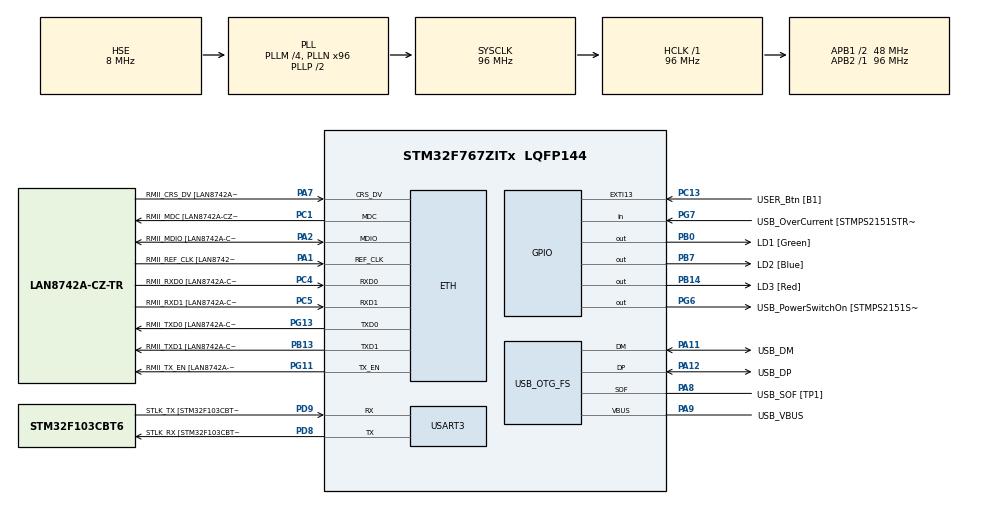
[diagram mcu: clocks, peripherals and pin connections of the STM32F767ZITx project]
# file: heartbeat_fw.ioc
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CORTEX_M7.default_mode_Activation=1
ETH.MediaInterface=HAL_ETH_RMII_MODE
ETH.PHY_Name=LAN8742A_PHY_ADDRESS
ETH.PHY_Value=0
ETH.PhyAddress=0
Mcu.Family=STM32F7
Mcu.Name=STM32F767ZITx
Mcu.Package=LQFP144
NVIC.PriorityGroup=NVIC_PRIORITYGROUP_4
NVIC.TIM2_IRQn=true\:0\:0\:false\:false\:true\:true\:true\:true
PA1.GPIO_Label=RMII_REF_CLK [LAN8742A-CZ-TR_REFCLK0]
PA1.Mode=RMII
PA1.Signal=ETH_REF_CLK
PA10.GPIO_Label=USB_ID
PA10.Signal=USB_OTG_FS_ID
PA11.GPIO_Label=USB_DM
PA11.Mode=Device_Only
PA11.Signal=USB_OTG_FS_DM
PA12.GPIO_Label=USB_DP
PA12.Mode=Device_Only
PA12.Signal=USB_OTG_FS_DP
PA13.GPIO_Label=TMS
PA13.Mode=Serial_Wire
PA13.Signal=SYS_JTMS-SWDIO
PA14.GPIO_Label=TCK
PA14.Mode=Serial_Wire
PA14.Signal=SYS_JTCK-SWCLK
PA2.GPIO_Label=RMII_MDIO [LAN8742A-CZ-TR_MDIO]
PA2.Mode=RMII
PA2.Signal=ETH_MDIO
PA7.GPIO_Label=RMII_CRS_DV [LAN8742A-CZ-TR_CRS_DV]
PA7.Mode=RMII
PA7.Signal=ETH_CRS_DV
PA8.GPIO_Label=USB_SOF [TP1]
PA8.Mode=Activate_SOF_FS
PA8.Signal=USB_OTG_FS_SOF
PA9.GPIO_Label=USB_VBUS
PA9.Mode=Activate_VBUS
PA9.Signal=USB_OTG_FS_VBUS
PB0.GPIO_Label=LD1 [Green]
PB0.Signal=GPIO_Output
PB13.GPIO_Label=RMII_TXD1 [LAN8742A-CZ-TR_TXD1]
PB13.Mode=RMII
PB13.Signal=ETH_TXD1
PB14.GPIO_Label=LD3 [Red]
PB14.Signal=GPIO_Output
PB3.GPIO_Label=SWO
PB3.Signal=SYS_JTDO-SWO
PB7.GPIO_Label=LD2 [Blue]
PB7.Signal=GPIO_Output
PC1.GPIO_Label=RMII_MDC [LAN8742A-CZ-TR_MDC]
PC1.Mode=RMII
PC1.Signal=ETH_MDC
PC13.GPIO_Label=USER_Btn [B1]
PC13.Signal=GPXTI13
PC14/OSC32_IN.Mode=LSE-External-Oscillator
PC14/OSC32_IN.Signal=RCC_OSC32_IN
PC15/OSC32_OUT.Mode=LSE-External-Oscillator
PC15/OSC32_OUT.Signal=RCC_OSC32_OUT
PC4.GPIO_Label=RMII_RXD0 [LAN8742A-CZ-TR_RXD0]
PC4.Mode=RMII
PC4.Signal=ETH_RXD0
PC5.GPIO_Label=RMII_RXD1 [LAN8742A-CZ-TR_RXD1]
PC5.Mode=RMII
PC5.Signal=ETH_RXD1
PD8.GPIO_Label=STLK_RX [STM32F103CBT6_PA3]
PD8.Mode=Asynchronous
PD8.Signal=USART3_TX
PD9.GPIO_Label=STLK_TX [STM32F103CBT6_PA2]
PD9.Mode=Asynchronous
PD9.Signal=USART3_RX
PG11.GPIO_Label=RMII_TX_EN [LAN8742A-CZ-TR_TXEN]
PG11.Mode=RMII
PG11.Signal=ETH_TX_EN
PG13.GPIO_Label=RMII_TXD0 [LAN8742A-CZ-TR_TXD0]
PG13.Mode=RMII
PG13.Signal=ETH_TXD0
PG6.GPIO_Label=USB_PowerSwitchOn [STMPS2151STR_EN]
PG6.Signal=GPIO_Output
PG7.GPIO_Label=USB_OverCurrent [STMPS2151STR_FAULT]
PG7.Signal=GPIO_Input
PH0/OSC_IN.GPIO_Label=MCO [STM32F103CBT6_PA8]
PH0/OSC_IN.Mode=HSE-External-Clock-Source
PH0/OSC_IN.Signal=RCC_OSC_IN
PH1/OSC_OUT.Mode=HSE-External-Clock-Source
PH1/OSC_OUT.Signal=RCC_OSC_OUT
ProjectManager.HeapSize=0x200
ProjectManager.StackSize=0x400
ProjectManager.TargetToolchain=STM32CubeIDE
RCC.48MHZClocksFreq_Value=24000000
RCC.AHBFreq_Value=96000000
RCC.APB1CLKDivider=RCC_HCLK_DIV2
RCC.APB1Freq_Value=48000000
RCC.APB1TimFreq_Value=96000000
RCC.APB2Freq_Value=96000000
RCC.APB2TimFreq_Value=96000000
RCC.CortexFreq_Value=96000000
RCC.HCLKFreq_Value=96000000
RCC.HSE_VALUE=8000000
RCC.HSI_VALUE=16000000
RCC.PLLM=4
RCC.PLLMUL=RCC_PLL_MUL9
RCC.PLLN=96
RCC.PLLQ=4
RCC.PRESCALERUSB=RCC_USBCLKSOURCE_PLL_DIV1_5
RCC.SYSCLKFreq_VALUE=96000000
RCC.SYSCLKSource=RCC_SYSCLKSOURCE_PLLCLK
RCC.SYSCLKSourceVirtual=RCC_SYSCLKSOURCE_PLLCLK
RCC.USBFreq_Value=48000000
RCC.VCOOutputFreq_Value=192000000
TIM2.AutoReloadPreload=TIM_AUTORELOAD_PRELOAD_ENABLE
TIM2.Period=39
TIM2.Prescaler=9599
USART3.VirtualMode-Asynchronous=VM_ASYNC
USB_OTG_FS.VirtualMode=Device_Only
VP_TIM2_VS_ClockSourceINT.Mode=Internal
board=NUCLEO-F767ZI

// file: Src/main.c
/* USER CODE BEGIN Header */
/**
  ******************************************************************************
  * @file           : main.c
  * @brief          : Main program body
  ******************************************************************************
  * @attention
  *
  * Copyright (c) 2026 STMicroelectronics.
  * All rights reserved.
  *
  * This software is licensed under terms that can be found in the LICENSE file
  * in the root directory of this software component.
  * If no LICENSE file comes with this software, it is provided AS-IS.
  *
  ******************************************************************************
  */
/* USER CODE END Header */
#include "main.h"
#include "string.h"

/* USER CODE BEGIN PD */
#define ECG_TABLE_SIZE  200   /* one beat at 75 BPM @ 250 Hz */
/* USER CODE END PD */

#if defined ( __ICCARM__ ) /*!< IAR Compiler */
#pragma location=0x2007c000
ETH_DMADescTypeDef  DMARxDscrTab[ETH_RX_DESC_CNT]; /* Ethernet Rx DMA Descriptors */
#pragma location=0x2007c0a0
ETH_DMADescTypeDef  DMATxDscrTab[ETH_TX_DESC_CNT]; /* Ethernet Tx DMA Descriptors */

#elif defined ( __CC_ARM )  /* MDK ARM Compiler */

__attribute__((at(0x2007c000))) ETH_DMADescTypeDef  DMARxDscrTab[ETH_RX_DESC_CNT]; /* Ethernet Rx DMA Descriptors */
__attribute__((at(0x2007c0a0))) ETH_DMADescTypeDef  DMATxDscrTab[ETH_TX_DESC_CNT]; /* Ethernet Tx DMA Descriptors */

#elif defined ( __GNUC__ ) /* GNU Compiler */

ETH_DMADescTypeDef DMARxDscrTab[ETH_RX_DESC_CNT] __attribute__((section(".RxDecripSection"))); /* Ethernet Rx DMA Descriptors */
ETH_DMADescTypeDef DMATxDscrTab[ETH_TX_DESC_CNT] __attribute__((section(".TxDecripSection")));   /* Ethernet Tx DMA Descriptors */
#endif

ETH_TxPacketConfig TxConfig;

ETH_HandleTypeDef heth;

TIM_HandleTypeDef htim2;

UART_HandleTypeDef huart3;

PCD_HandleTypeDef hpcd_USB_OTG_FS;

/* USER CODE BEGIN PV */

/*
 * Synthetic ECG lookup table — 200 samples = 1 beat at 75 BPM (250 Hz).
 *
 * Morphology (zero-centred, int16 ADC scale):
 *   samples   0-19  : TP baseline
 *   samples  20-40  : P wave  (peak ~150)
 *   samples  41-54  : PQ segment
 *   samples  55-57  : Q dip
 *   samples  58-62  : R ascent (peak 2000)
 *   samples  63-67  : R descent / S wave (trough -500)
 *   samples  68-72  : S recovery
 *   samples  73-99  : ST segment (slightly elevated, decays to 0)
 *   samples 100-159 : T wave  (peak ~400)
 *   samples 160-199 : TP baseline
 */
static const int16_t ECG_TABLE[ECG_TABLE_SIZE] = {
    /* 0-19: baseline */
    0, 0, 0, 0, 0, 0, 0, 0, 0, 0,
    0, 0, 0, 0, 0, 0, 0, 0, 0, 0,
    /* 20-40: P wave */
    20, 30, 42, 56, 73, 91, 109, 125, 138, 147,
    150, 147, 138, 125, 109, 91, 73, 56, 42, 30, 20,
    /* 41-54: PQ segment */
    0, 0, 0, 0, 0, 0, 0, 0, 0, 0, 0, 0, 0, 0,
    /* 55-57: Q dip */
    -80, -160, -200,
    /* 58-62: R ascent */
    -100, 300, 900, 1600, 2000,
    /* 63-67: R descent / S */
    1400, 600, -100, -450, -500,
    /* 68-72: S recovery */
    -350, -200, -100, 0, 30,
    /* 73-99: ST segment (27 values, 50→2) */
    50, 48, 46, 44, 42, 40, 38, 36, 34, 32,
    30, 28, 26, 24, 22, 20, 18, 16, 14, 12,
    10, 9, 8, 6, 5, 3, 2,
    /* 100-159: T wave (60 values, Gaussian peak 400 at index 127) */
    79,  89, 100, 111, 123, 137, 150, 164, 179, 195,
    210, 227, 243, 259, 275, 290, 306, 320, 334, 347,
    359, 369, 378, 386, 392, 396, 399, 400, 399, 396,
    392, 386, 378, 369, 359, 347, 334, 320, 306, 290,
    275, 259, 243, 227, 210, 195, 179, 164, 150, 137,
    123, 111, 100,  89,  79,  70,  62,  54,  47,  41,
    /* 160-199: TP baseline */
    0, 0, 0, 0, 0, 0, 0, 0, 0, 0,
    0, 0, 0, 0, 0, 0, 0, 0, 0, 0,
    0, 0, 0, 0, 0, 0, 0, 0, 0, 0,
    0, 0, 0, 0, 0, 0, 0, 0, 0, 0
};

static uint32_t ecg_idx = 0;   /* current position in the table */

/* USER CODE END PV */

void SystemClock_Config(void);
static void MPU_Config(void);
static void MX_GPIO_Init(void);
static void MX_ETH_Init(void);
static void MX_TIM2_Init(void);
static void MX_USART3_UART_Init(void);
static void MX_USB_OTG_FS_PCD_Init(void);

/* USER CODE BEGIN 0 */

/*
 * CRC-16 CCITT (init=0xFFFF, poly=0x1021) — matches PacketParser.cs exactly.
 * Covers the 4-byte payload: seq_lo, seq_hi, val_lo, val_hi.
 */
static uint16_t crc16_ccitt(const uint8_t *data, uint16_t len)
{
    uint16_t crc = 0xFFFF;
    for (uint16_t i = 0; i < len; i++) {
        crc ^= (uint16_t)data[i] << 8;
        for (int bit = 0; bit < 8; bit++) {
            crc = (crc & 0x8000u) ? (uint16_t)((crc << 1) ^ 0x1021u)
                                  : (uint16_t)(crc << 1);
        }
    }
    return crc;
}

/* USER CODE END 0 */

int main(void)
{

  /* MPU Configuration--------------------------------------------------------*/
  MPU_Config();

  /* MCU Configuration--------------------------------------------------------*/

  /* Reset of all peripherals, Initializes the Flash interface and the Systick. */
  HAL_Init();

  /* Configure the system clock */
  SystemClock_Config();

  /* Initialize all configured peripherals */
  MX_GPIO_Init();
  MX_ETH_Init();
  MX_TIM2_Init();
  MX_USART3_UART_Init();
  MX_USB_OTG_FS_PCD_Init();
  /* USER CODE BEGIN 2 */
  HAL_TIM_Base_Start_IT(&htim2);   /* start 250 Hz timer with interrupts */
  /* USER CODE END 2 */

  /* Infinite loop */
  while (1)
  {

  }
}

void SystemClock_Config(void)
{
  RCC_OscInitTypeDef RCC_OscInitStruct = {0};
  RCC_ClkInitTypeDef RCC_ClkInitStruct = {0};

  /** Configure LSE Drive Capability
  */
  HAL_PWR_EnableBkUpAccess();

  /** Configure the main internal regulator output voltage
  */
  __HAL_RCC_PWR_CLK_ENABLE();
  __HAL_PWR_VOLTAGESCALING_CONFIG(PWR_REGULATOR_VOLTAGE_SCALE3);

  /** Initializes the RCC Oscillators according to the specified parameters
  * in the RCC_OscInitTypeDef structure.
  */
  RCC_OscInitStruct.OscillatorType = RCC_OSCILLATORTYPE_HSE;
  RCC_OscInitStruct.HSEState = RCC_HSE_BYPASS;
  RCC_OscInitStruct.PLL.PLLState = RCC_PLL_ON;
  RCC_OscInitStruct.PLL.PLLSource = RCC_PLLSOURCE_HSE;
  RCC_OscInitStruct.PLL.PLLM = 4;
  RCC_OscInitStruct.PLL.PLLN = 96;
  RCC_OscInitStruct.PLL.PLLP = RCC_PLLP_DIV2;
  RCC_OscInitStruct.PLL.PLLQ = 4;
  RCC_OscInitStruct.PLL.PLLR = 2;
  if (HAL_RCC_OscConfig(&RCC_OscInitStruct) != HAL_OK)
  {
    Error_Handler();
  }

  /** Activate the Over-Drive mode
  */
  if (HAL_PWREx_EnableOverDrive() != HAL_OK)
  {
    Error_Handler();
  }

  /** Initializes the CPU, AHB and APB buses clocks
  */
  RCC_ClkInitStruct.ClockType = RCC_CLOCKTYPE_HCLK|RCC_CLOCKTYPE_SYSCLK
                              |RCC_CLOCKTYPE_PCLK1|RCC_CLOCKTYPE_PCLK2;
  RCC_ClkInitStruct.SYSCLKSource = RCC_SYSCLKSOURCE_PLLCLK;
  RCC_ClkInitStruct.AHBCLKDivider = RCC_SYSCLK_DIV1;
  RCC_ClkInitStruct.APB1CLKDivider = RCC_HCLK_DIV2;
  RCC_ClkInitStruct.APB2CLKDivider = RCC_HCLK_DIV1;

  if (HAL_RCC_ClockConfig(&RCC_ClkInitStruct, FLASH_LATENCY_3) != HAL_OK)
  {
    Error_Handler();
  }
}

static void MX_ETH_Init(void)
{

   static uint8_t MACAddr[6];

  heth.Instance = ETH;
  MACAddr[0] = 0x00;
  MACAddr[1] = 0x80;
  MACAddr[2] = 0xE1;
  MACAddr[3] = 0x00;
  MACAddr[4] = 0x00;
  MACAddr[5] = 0x00;
  heth.Init.MACAddr = &MACAddr[0];
  heth.Init.MediaInterface = HAL_ETH_RMII_MODE;
  heth.Init.TxDesc = DMATxDscrTab;
  heth.Init.RxDesc = DMARxDscrTab;
  heth.Init.RxBuffLen = 1524;

  if (HAL_ETH_Init(&heth) != HAL_OK)
  {
    Error_Handler();
  }

  memset(&TxConfig, 0 , sizeof(ETH_TxPacketConfig));
  TxConfig.Attributes = ETH_TX_PACKETS_FEATURES_CSUM | ETH_TX_PACKETS_FEATURES_CRCPAD;
  TxConfig.ChecksumCtrl = ETH_CHECKSUM_IPHDR_PAYLOAD_INSERT_PHDR_CALC;
  TxConfig.CRCPadCtrl = ETH_CRC_PAD_INSERT;

}

static void MX_TIM2_Init(void)
{

  TIM_ClockConfigTypeDef sClockSourceConfig = {0};
  TIM_MasterConfigTypeDef sMasterConfig = {0};

  htim2.Instance = TIM2;
  htim2.Init.Prescaler = 9599;
  htim2.Init.CounterMode = TIM_COUNTERMODE_UP;
  htim2.Init.Period = 39;
  htim2.Init.ClockDivision = TIM_CLOCKDIVISION_DIV1;
  htim2.Init.AutoReloadPreload = TIM_AUTORELOAD_PRELOAD_ENABLE;
  if (HAL_TIM_Base_Init(&htim2) != HAL_OK)
  {
    Error_Handler();
  }
  sClockSourceConfig.ClockSource = TIM_CLOCKSOURCE_INTERNAL;
  if (HAL_TIM_ConfigClockSource(&htim2, &sClockSourceConfig) != HAL_OK)
  {
    Error_Handler();
  }
  sMasterConfig.MasterOutputTrigger = TIM_TRGO_RESET;
  sMasterConfig.MasterSlaveMode = TIM_MASTERSLAVEMODE_DISABLE;
  if (HAL_TIMEx_MasterConfigSynchronization(&htim2, &sMasterConfig) != HAL_OK)
  {
    Error_Handler();
  }

}

static void MX_USART3_UART_Init(void)
{

  huart3.Instance = USART3;
  huart3.Init.BaudRate = 115200;
  huart3.Init.WordLength = UART_WORDLENGTH_8B;
  huart3.Init.StopBits = UART_STOPBITS_1;
  huart3.Init.Parity = UART_PARITY_NONE;
  huart3.Init.Mode = UART_MODE_TX_RX;
  huart3.Init.HwFlowCtl = UART_HWCONTROL_NONE;
  huart3.Init.OverSampling = UART_OVERSAMPLING_16;
  huart3.Init.OneBitSampling = UART_ONE_BIT_SAMPLE_DISABLE;
  huart3.AdvancedInit.AdvFeatureInit = UART_ADVFEATURE_NO_INIT;
  if (HAL_UART_Init(&huart3) != HAL_OK)
  {
    Error_Handler();
  }

}

static void MX_USB_OTG_FS_PCD_Init(void)
{

  hpcd_USB_OTG_FS.Instance = USB_OTG_FS;
  hpcd_USB_OTG_FS.Init.dev_endpoints = 6;
  hpcd_USB_OTG_FS.Init.speed = PCD_SPEED_FULL;
  hpcd_USB_OTG_FS.Init.dma_enable = DISABLE;
  hpcd_USB_OTG_FS.Init.phy_itface = PCD_PHY_EMBEDDED;
  hpcd_USB_OTG_FS.Init.Sof_enable = ENABLE;
  hpcd_USB_OTG_FS.Init.low_power_enable = DISABLE;
  hpcd_USB_OTG_FS.Init.lpm_enable = DISABLE;
  hpcd_USB_OTG_FS.Init.vbus_sensing_enable = ENABLE;
  hpcd_USB_OTG_FS.Init.use_dedicated_ep1 = DISABLE;
  if (HAL_PCD_Init(&hpcd_USB_OTG_FS) != HAL_OK)
  {
    Error_Handler();
  }

}

static void MX_GPIO_Init(void)
{
  GPIO_InitTypeDef GPIO_InitStruct = {0};

  /* GPIO Ports Clock Enable */
  __HAL_RCC_GPIOC_CLK_ENABLE();
  __HAL_RCC_GPIOH_CLK_ENABLE();
  __HAL_RCC_GPIOA_CLK_ENABLE();
  __HAL_RCC_GPIOB_CLK_ENABLE();
  __HAL_RCC_GPIOD_CLK_ENABLE();
  __HAL_RCC_GPIOG_CLK_ENABLE();

  /*Configure GPIO pin Output Level */
  HAL_GPIO_WritePin(GPIOB, LD1_Pin|LD3_Pin|LD2_Pin, GPIO_PIN_RESET);

  /*Configure GPIO pin Output Level */
  HAL_GPIO_WritePin(USB_PowerSwitchOn_GPIO_Port, USB_PowerSwitchOn_Pin, GPIO_PIN_RESET);

  /*Configure GPIO pin : USER_Btn_Pin */
  GPIO_InitStruct.Pin = USER_Btn_Pin;
  GPIO_InitStruct.Mode = GPIO_MODE_IT_RISING;
  GPIO_InitStruct.Pull = GPIO_NOPULL;
  HAL_GPIO_Init(USER_Btn_GPIO_Port, &GPIO_InitStruct);

  /*Configure GPIO pins : LD1_Pin LD3_Pin LD2_Pin */
  GPIO_InitStruct.Pin = LD1_Pin|LD3_Pin|LD2_Pin;
  GPIO_InitStruct.Mode = GPIO_MODE_OUTPUT_PP;
  GPIO_InitStruct.Pull = GPIO_NOPULL;
  GPIO_InitStruct.Speed = GPIO_SPEED_FREQ_LOW;
  HAL_GPIO_Init(GPIOB, &GPIO_InitStruct);

  /*Configure GPIO pin : USB_PowerSwitchOn_Pin */
  GPIO_InitStruct.Pin = USB_PowerSwitchOn_Pin;
  GPIO_InitStruct.Mode = GPIO_MODE_OUTPUT_PP;
  GPIO_InitStruct.Pull = GPIO_NOPULL;
  GPIO_InitStruct.Speed = GPIO_SPEED_FREQ_LOW;
  HAL_GPIO_Init(USB_PowerSwitchOn_GPIO_Port, &GPIO_InitStruct);

  /*Configure GPIO pin : USB_OverCurrent_Pin */
  GPIO_InitStruct.Pin = USB_OverCurrent_Pin;
  GPIO_InitStruct.Mode = GPIO_MODE_INPUT;
  GPIO_InitStruct.Pull = GPIO_NOPULL;
  HAL_GPIO_Init(USB_OverCurrent_GPIO_Port, &GPIO_InitStruct);

}

/* USER CODE BEGIN 4 */

/*
 * TIM2 update interrupt — fires at exactly 250 Hz.
 *
 * Packet layout (8 bytes, little-endian):
 *   [0] 0xAA          — SOF byte 1
 *   [1] 0x55          — SOF byte 2
 *   [2] seq_lo        — sequence number LSB
 *   [3] seq_hi        — sequence number MSB
 *   [4] val_lo        — int16 sample value LSB
 *   [5] val_hi        — int16 sample value MSB
 *   [6] crc_lo        — CRC-16 CCITT over bytes [2..5], LSB
 *   [7] crc_hi        — CRC-16 CCITT over bytes [2..5], MSB
 *
 * At 115200 baud each 8-byte packet takes ~694 µs.
 * The ISR fires every 4000 µs (250 Hz), so there is plenty of margin.
 */
void HAL_TIM_PeriodElapsedCallback(TIM_HandleTypeDef *htim)
{
    if (htim->Instance != TIM2) return;

    static uint16_t seq = 0;

    /* Fetch next sample from the ECG table */
    int16_t value = ECG_TABLE[ecg_idx];
    ecg_idx = (ecg_idx + 1U) % ECG_TABLE_SIZE;

    /* Build packet */
    uint8_t pkt[8];
    pkt[0] = 0xAA;
    pkt[1] = 0x55;
    pkt[2] = (uint8_t)(seq & 0xFFU);
    pkt[3] = (uint8_t)(seq >> 8);
    pkt[4] = (uint8_t)((uint16_t)value & 0xFFU);
    pkt[5] = (uint8_t)((uint16_t)value >> 8);

    /* CRC covers the 4 payload bytes: seq + value */
    uint16_t crc = crc16_ccitt(&pkt[2], 4);
    pkt[6] = (uint8_t)(crc & 0xFFU);
    pkt[7] = (uint8_t)(crc >> 8);

    seq++;

    /* Transmit — 1 ms timeout is safe: 8 bytes @ 115200 takes ~694 µs */
    HAL_UART_Transmit(&huart3, pkt, 8, 1);
}

/* USER CODE END 4 */

 /* MPU Configuration */

void MPU_Config(void)
{
  MPU_Region_InitTypeDef MPU_InitStruct = {0};

  /* Disables the MPU */
  HAL_MPU_Disable();

  /** Initializes and configures the Region and the memory to be protected
  */
  MPU_InitStruct.Enable = MPU_REGION_ENABLE;
  MPU_InitStruct.Number = MPU_REGION_NUMBER0;
  MPU_InitStruct.BaseAddress = 0x0;
  MPU_InitStruct.Size = MPU_REGION_SIZE_4GB;
  MPU_InitStruct.SubRegionDisable = 0x87;
  MPU_InitStruct.TypeExtField = MPU_TEX_LEVEL0;
  MPU_InitStruct.AccessPermission = MPU_REGION_NO_ACCESS;
  MPU_InitStruct.DisableExec = MPU_INSTRUCTION_ACCESS_DISABLE;
  MPU_InitStruct.IsShareable = MPU_ACCESS_SHAREABLE;
  MPU_InitStruct.IsCacheable = MPU_ACCESS_NOT_CACHEABLE;
  MPU_InitStruct.IsBufferable = MPU_ACCESS_NOT_BUFFERABLE;

  HAL_MPU_ConfigRegion(&MPU_InitStruct);
  /* Enables the MPU */
  HAL_MPU_Enable(MPU_PRIVILEGED_DEFAULT);

}

void Error_Handler(void)
{
  __disable_irq();
  while (1)
  {
  }
}
